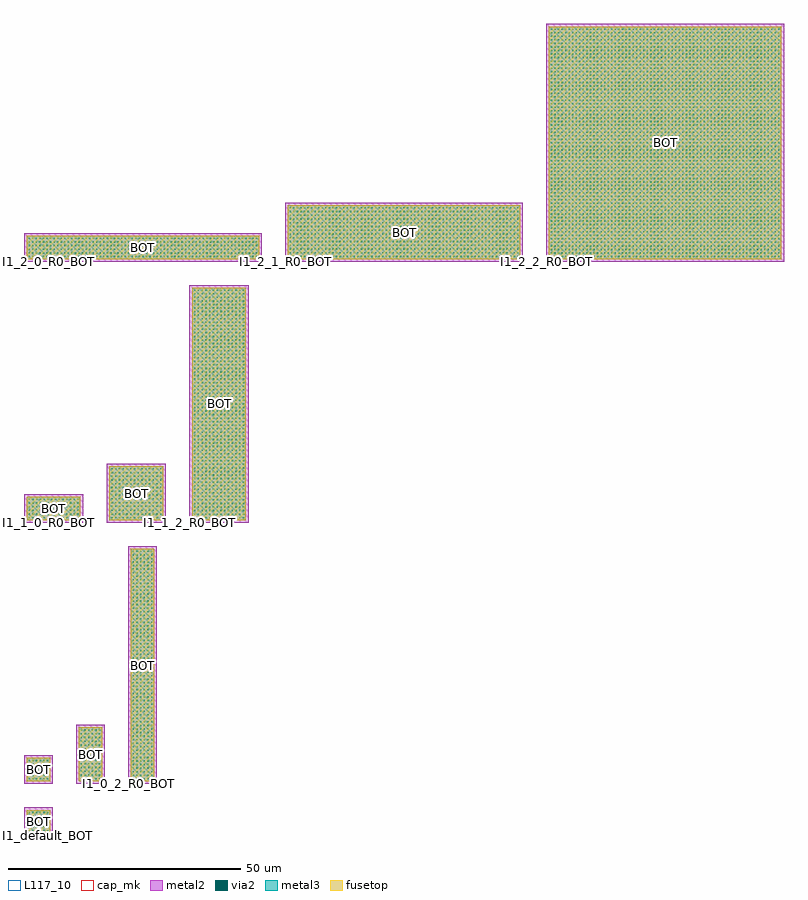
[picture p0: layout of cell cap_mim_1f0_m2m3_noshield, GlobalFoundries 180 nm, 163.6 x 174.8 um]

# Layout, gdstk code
import gdstk
lib = gdstk.Library(unit=1e-6, precision=1e-09)
def R(c, l, rs):  # rectangles x0, y0, x1, y1
    for r in rs: c.add(gdstk.rectangle(r[:2], r[2:], *l))
def A(c, l, x, y, w, h, nx, ny, dx, dy):  # array of equal rectangles
    R(c, l, [(x+i*dx, y+j*dy, x+i*dx+w, y+j*dy+h) for i in range(nx) for j in range(ny)])
metal2 = (36, 0)
via2 = (38, 0)
metal3 = (42, 0)
fusetop = (75, 0)
cap_mk = (117, 5)
L117_10 = (117, 10)

cap_mim_1f0_m2m3_noshiel = lib.new_cell('cap_mim_1f0_m2m3_noshield')
R(cap_mim_1f0_m2m3_noshiel, metal2, [(0,0,6.2,6.2), (0,11.2,6.2,17.4), (11.2,11.2,17.4,23.96), (22.4,11.2,28.6,62.4), (0,67.4,12.76,73.6), (17.8,67.4,30.56,80.16), (35.6,67.4,48.36,118.6), (0,123.6,51.2,129.8), (56.2,123.6,107.4,136.36), (112.4,123.6,163.6,174.8)])
A(cap_mim_1f0_m2m3_noshiel, via2, 1, 1, 0.26, 0.26, 4, 4, 0.79, 0.79)
A(cap_mim_1f0_m2m3_noshiel, via2, 4.155, 1, 0.26, 0.26, 1, 4, 0, 0.79)
A(cap_mim_1f0_m2m3_noshiel, via2, 4.94, 1, 0.26, 0.26, 1, 4, 0, 0.79)
A(cap_mim_1f0_m2m3_noshiel, via2, 1, 4.155, 0.26, 0.26, 4, 2, 0.79, 0.785)
A(cap_mim_1f0_m2m3_noshiel, via2, 1, 12.2, 0.26, 0.26, 4, 4, 0.79, 0.79)
A(cap_mim_1f0_m2m3_noshiel, via2, 4.155, 12.2, 0.26, 0.26, 1, 4, 0, 0.79)
A(cap_mim_1f0_m2m3_noshiel, via2, 4.94, 12.2, 0.26, 0.26, 1, 4, 0, 0.79)
A(cap_mim_1f0_m2m3_noshiel, via2, 12.2, 12.2, 0.26, 0.26, 4, 8, 0.79, 0.81)
A(cap_mim_1f0_m2m3_noshiel, via2, 15.355, 12.2, 0.26, 0.26, 1, 8, 0, 0.81)
A(cap_mim_1f0_m2m3_noshiel, via2, 16.14, 12.2, 0.26, 0.26, 1, 8, 0, 0.81)
A(cap_mim_1f0_m2m3_noshiel, via2, 23.4, 12.2, 0.26, 0.26, 4, 61, 0.79, 0.765)
A(cap_mim_1f0_m2m3_noshiel, via2, 26.555, 12.2, 0.26, 0.26, 1, 61, 0, 0.765)
A(cap_mim_1f0_m2m3_noshiel, via2, 27.34, 12.2, 0.26, 0.26, 1, 61, 0, 0.765)
A(cap_mim_1f0_m2m3_noshiel, via2, 1, 15.355, 0.26, 0.26, 4, 2, 0.79, 0.785)
A(cap_mim_1f0_m2m3_noshiel, via2, 12.2, 18.675, 0.26, 0.26, 4, 6, 0.79, 0.805)
A(cap_mim_1f0_m2m3_noshiel, via2, 15.355, 18.675, 0.26, 0.26, 1, 6, 0, 0.805)
A(cap_mim_1f0_m2m3_noshiel, via2, 16.14, 18.675, 0.26, 0.26, 1, 6, 0, 0.805)
A(cap_mim_1f0_m2m3_noshiel, via2, 23.4, 58.86, 0.26, 0.26, 4, 4, 0.79, 0.76)
A(cap_mim_1f0_m2m3_noshiel, via2, 26.555, 58.86, 0.26, 0.26, 1, 4, 0, 0.76)
A(cap_mim_1f0_m2m3_noshiel, via2, 27.34, 58.86, 0.26, 0.26, 1, 4, 0, 0.76)
A(cap_mim_1f0_m2m3_noshiel, via2, 1, 68.4, 0.26, 0.26, 8, 4, 0.81, 0.79)
A(cap_mim_1f0_m2m3_noshiel, via2, 7.475, 68.4, 0.26, 0.26, 6, 4, 0.805, 0.79)
A(cap_mim_1f0_m2m3_noshiel, via2, 18.8, 68.4, 0.26, 0.26, 8, 8, 0.81, 0.81)
A(cap_mim_1f0_m2m3_noshiel, via2, 25.275, 68.4, 0.26, 0.26, 6, 8, 0.805, 0.81)
A(cap_mim_1f0_m2m3_noshiel, via2, 36.6, 68.4, 0.26, 0.26, 8, 61, 0.81, 0.765)
A(cap_mim_1f0_m2m3_noshiel, via2, 43.075, 68.4, 0.26, 0.26, 6, 61, 0.805, 0.765)
A(cap_mim_1f0_m2m3_noshiel, via2, 1, 71.555, 0.26, 0.26, 8, 2, 0.81, 0.785)
A(cap_mim_1f0_m2m3_noshiel, via2, 7.475, 71.555, 0.26, 0.26, 6, 2, 0.805, 0.785)
A(cap_mim_1f0_m2m3_noshiel, via2, 18.8, 74.875, 0.26, 0.26, 8, 6, 0.81, 0.805)
A(cap_mim_1f0_m2m3_noshiel, via2, 25.275, 74.875, 0.26, 0.26, 6, 6, 0.805, 0.805)
A(cap_mim_1f0_m2m3_noshiel, via2, 36.6, 115.06, 0.26, 0.26, 8, 4, 0.81, 0.76)
A(cap_mim_1f0_m2m3_noshiel, via2, 43.075, 115.06, 0.26, 0.26, 6, 4, 0.805, 0.76)
A(cap_mim_1f0_m2m3_noshiel, via2, 1, 124.6, 0.26, 0.26, 61, 4, 0.765, 0.79)
A(cap_mim_1f0_m2m3_noshiel, via2, 47.66, 124.6, 0.26, 0.26, 4, 4, 0.76, 0.79)
A(cap_mim_1f0_m2m3_noshiel, via2, 57.2, 124.6, 0.26, 0.26, 61, 8, 0.765, 0.81)
A(cap_mim_1f0_m2m3_noshiel, via2, 103.86, 124.6, 0.26, 0.26, 4, 8, 0.76, 0.81)
A(cap_mim_1f0_m2m3_noshiel, via2, 113.4, 124.6, 0.26, 0.26, 61, 61, 0.765, 0.765)
A(cap_mim_1f0_m2m3_noshiel, via2, 160.06, 124.6, 0.26, 0.26, 4, 61, 0.76, 0.765)
A(cap_mim_1f0_m2m3_noshiel, via2, 1, 127.755, 0.26, 0.26, 61, 2, 0.765, 0.785)
A(cap_mim_1f0_m2m3_noshiel, via2, 47.66, 127.755, 0.26, 0.26, 4, 2, 0.76, 0.785)
A(cap_mim_1f0_m2m3_noshiel, via2, 57.2, 131.075, 0.26, 0.26, 61, 6, 0.765, 0.805)
A(cap_mim_1f0_m2m3_noshiel, via2, 103.86, 131.075, 0.26, 0.26, 4, 6, 0.76, 0.805)
A(cap_mim_1f0_m2m3_noshiel, via2, 113.4, 171.26, 0.26, 0.26, 61, 4, 0.765, 0.76)
A(cap_mim_1f0_m2m3_noshiel, via2, 160.06, 171.26, 0.26, 0.26, 4, 4, 0.76, 0.76)
R(cap_mim_1f0_m2m3_noshiel, via2, [(4.155,4.155,4.415,4.415), (4.94,4.155,5.2,4.415), (4.155,4.94,4.415,5.2), (4.94,4.94,5.2,5.2), (4.155,15.355,4.415,15.615), (4.94,15.355,5.2,15.615), (4.155,16.14,4.415,16.4), (4.94,16.14,5.2,16.4)])
R(cap_mim_1f0_m2m3_noshiel, metal3, [(0.6,0.6,5.6,5.6), (0.6,11.8,5.6,16.8), (11.8,11.8,16.8,23.36), (23,11.8,28,61.8), (0.6,68,12.16,73), (18.4,68,29.96,79.56), (36.2,68,47.76,118), (0.6,124.2,50.6,129.2), (56.8,124.2,106.8,135.76), (113,124.2,163,174.2)])
R(cap_mim_1f0_m2m3_noshiel, fusetop, [(0.6,0.6,5.6,5.6), (0.6,11.8,5.6,16.8), (11.8,11.8,16.8,23.36), (23,11.8,28,61.8), (0.6,68,12.16,73), (18.4,68,29.96,79.56), (36.2,68,47.76,118), (0.6,124.2,50.6,129.2), (56.8,124.2,106.8,135.76), (113,124.2,163,174.2)])
R(cap_mim_1f0_m2m3_noshiel, cap_mk, [(0,0,6.2,6.2), (0,11.2,6.2,17.4), (11.2,11.2,17.4,23.96), (22.4,11.2,28.6,62.4), (0,67.4,12.76,73.6), (17.8,67.4,30.56,80.16), (35.6,67.4,48.36,118.6), (0,123.6,51.2,129.8), (56.2,123.6,107.4,136.36), (112.4,123.6,163.6,174.8)])
A(cap_mim_1f0_m2m3_noshiel, L117_10, 0.6, 11.8, 5, 0.1, 3, 1, 11.2, 0)
A(cap_mim_1f0_m2m3_noshiel, L117_10, 0.6, 68, 11.56, 0.1, 3, 1, 17.8, 0)
A(cap_mim_1f0_m2m3_noshiel, L117_10, 0.6, 124.2, 50, 0.1, 3, 1, 56.2, 0)
R(cap_mim_1f0_m2m3_noshiel, L117_10, [(0.6,0.6,5.6,0.7)])
cap_mim_1f0_m2m3_noshiel.add(gdstk.Label('BOT', (3.1,3.1), layer=36, texttype=0))
cap_mim_1f0_m2m3_noshiel.add(gdstk.Label('BOT', (3.1,14.3), layer=36, texttype=0))
cap_mim_1f0_m2m3_noshiel.add(gdstk.Label('BOT', (14.3,17.58), layer=36, texttype=0))
cap_mim_1f0_m2m3_noshiel.add(gdstk.Label('BOT', (25.5,36.8), layer=36, texttype=0))
cap_mim_1f0_m2m3_noshiel.add(gdstk.Label('BOT', (6.38,70.5), layer=36, texttype=0))
cap_mim_1f0_m2m3_noshiel.add(gdstk.Label('BOT', (24.18,73.78), layer=36, texttype=0))
cap_mim_1f0_m2m3_noshiel.add(gdstk.Label('BOT', (41.98,93), layer=36, texttype=0))
cap_mim_1f0_m2m3_noshiel.add(gdstk.Label('BOT', (25.6,126.7), layer=36, texttype=0))
cap_mim_1f0_m2m3_noshiel.add(gdstk.Label('BOT', (81.8,129.98), layer=36, texttype=0))
cap_mim_1f0_m2m3_noshiel.add(gdstk.Label('BOT', (138,149.2), layer=36, texttype=0))
cap_mim_1f0_m2m3_noshiel.add(gdstk.Label('TOP', (3.1,3.1), layer=42, texttype=0))
cap_mim_1f0_m2m3_noshiel.add(gdstk.Label('TOP', (3.1,14.3), layer=42, texttype=0))
cap_mim_1f0_m2m3_noshiel.add(gdstk.Label('TOP', (14.3,17.58), layer=42, texttype=0))
cap_mim_1f0_m2m3_noshiel.add(gdstk.Label('TOP', (25.5,36.8), layer=42, texttype=0))
cap_mim_1f0_m2m3_noshiel.add(gdstk.Label('TOP', (6.38,70.5), layer=42, texttype=0))
cap_mim_1f0_m2m3_noshiel.add(gdstk.Label('TOP', (24.18,73.78), layer=42, texttype=0))
cap_mim_1f0_m2m3_noshiel.add(gdstk.Label('TOP', (41.98,93), layer=42, texttype=0))
cap_mim_1f0_m2m3_noshiel.add(gdstk.Label('TOP', (25.6,126.7), layer=42, texttype=0))
cap_mim_1f0_m2m3_noshiel.add(gdstk.Label('TOP', (81.8,129.98), layer=42, texttype=0))
cap_mim_1f0_m2m3_noshiel.add(gdstk.Label('TOP', (138,149.2), layer=42, texttype=0))
cap_mim_1f0_m2m3_noshiel.add(gdstk.Label('I1_2_2_R0_BOT', (112.425,123.625), layer=36, texttype=10))
cap_mim_1f0_m2m3_noshiel.add(gdstk.Label('I1_2_1_R0_BOT', (56.225,123.625), layer=36, texttype=10))
cap_mim_1f0_m2m3_noshiel.add(gdstk.Label('I1_2_0_R0_BOT', (0.025,123.625), layer=36, texttype=10))
cap_mim_1f0_m2m3_noshiel.add(gdstk.Label('I1_1_2_R0_BOT', (35.625,67.425), layer=36, texttype=10))
cap_mim_1f0_m2m3_noshiel.add(gdstk.Label('I1_1_1_R0_BOT', (17.825,67.425), layer=36, texttype=10))
cap_mim_1f0_m2m3_noshiel.add(gdstk.Label('I1_1_0_R0_BOT', (0.025,67.425), layer=36, texttype=10))
cap_mim_1f0_m2m3_noshiel.add(gdstk.Label('I1_0_2_R0_BOT', (22.425,11.225), layer=36, texttype=10))
cap_mim_1f0_m2m3_noshiel.add(gdstk.Label('I1_0_1_R0_BOT', (11.225,11.225), layer=36, texttype=10))
cap_mim_1f0_m2m3_noshiel.add(gdstk.Label('I1_0_0_R0_BOT', (0.025,11.225), layer=36, texttype=10))
cap_mim_1f0_m2m3_noshiel.add(gdstk.Label('I1_default_BOT', (0.025,0.025), layer=36, texttype=10))
cap_mim_1f0_m2m3_noshiel.add(gdstk.Label('I1_2_2_R0_TOP', (113.025,124.225), layer=42, texttype=10))
cap_mim_1f0_m2m3_noshiel.add(gdstk.Label('I1_2_1_R0_TOP', (56.825,124.225), layer=42, texttype=10))
cap_mim_1f0_m2m3_noshiel.add(gdstk.Label('I1_2_0_R0_TOP', (0.625,124.225), layer=42, texttype=10))
cap_mim_1f0_m2m3_noshiel.add(gdstk.Label('I1_1_2_R0_TOP', (36.225,68.025), layer=42, texttype=10))
cap_mim_1f0_m2m3_noshiel.add(gdstk.Label('I1_1_1_R0_TOP', (18.425,68.025), layer=42, texttype=10))
cap_mim_1f0_m2m3_noshiel.add(gdstk.Label('I1_1_0_R0_TOP', (0.625,68.025), layer=42, texttype=10))
cap_mim_1f0_m2m3_noshiel.add(gdstk.Label('I1_0_2_R0_TOP', (23.025,11.825), layer=42, texttype=10))
cap_mim_1f0_m2m3_noshiel.add(gdstk.Label('I1_0_1_R0_TOP', (11.825,11.825), layer=42, texttype=10))
cap_mim_1f0_m2m3_noshiel.add(gdstk.Label('I1_0_0_R0_TOP', (0.625,11.825), layer=42, texttype=10))
cap_mim_1f0_m2m3_noshiel.add(gdstk.Label('I1_default_TOP', (0.625,0.625), layer=42, texttype=10))

lib.write_gds('cap_mim_1f0_m2m3_noshield.gds')
